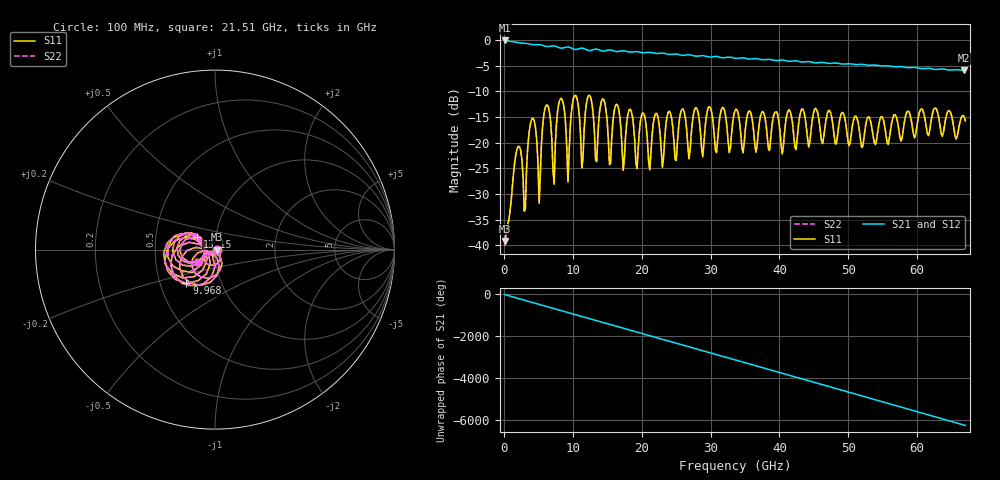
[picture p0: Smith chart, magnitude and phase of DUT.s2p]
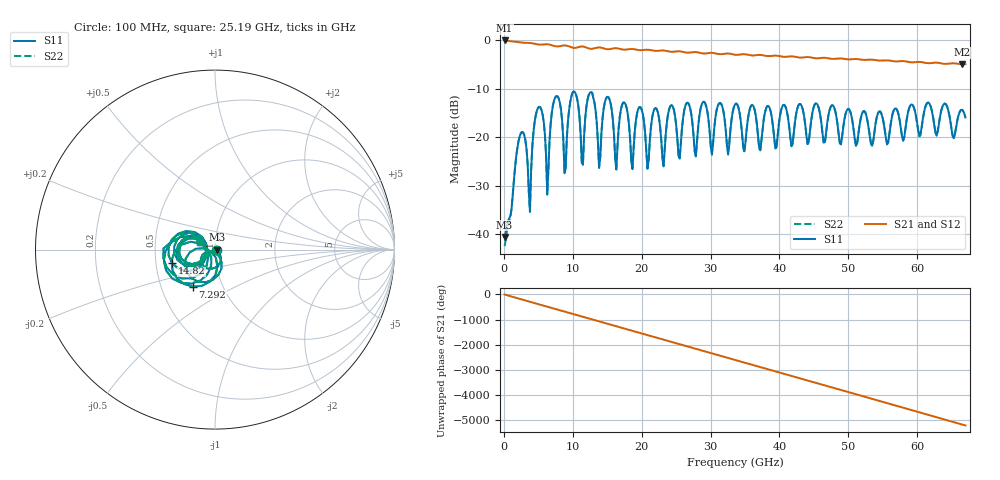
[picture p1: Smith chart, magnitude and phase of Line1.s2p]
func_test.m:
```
clc;clear all;close all;

%---------------Simulation ------------------
Data = 'D:\20220920 new project\ISC_3rd_design\SimulationData_WavePort_50ohm\';
DUT = sparameters(fullfile(Data,'DUT.s2p'));
Line1 = sparameters(fullfile(Data,'Line1.s2p'));
Line2 = sparameters(fullfile(Data,'Line2.s2p'));
Thru = sparameters(fullfile(Data,'Thru.s2p'));
Reflect = sparameters(fullfile(Data,'Reflect.s2p'));
MTRL = sparameters(fullfile(Data,'M_TRL_w_wp_50ohm.s2p'));
De_emb = sparameters(fullfile(Data,'deembeded_w_wp_50ohm.s2p'));

FreqG = DUT.Frequencies;
Freq = FreqG./1e9;

[MagdBDUT_S21,~,MagdBDUT_S11,~] = DUT_structure(DUT);
[MagdBLine1_S21,~,MagdBLine1_S11,~] = DUT_structure(Line1);
[MagdBLine2_S21,~,MagdBLine2_S11,~] = DUT_structure(Line2);
[MagdBThru_S21,~,MagdBThru_S11,~] = DUT_structure(Thru);
[MagdBReflect_S21,~,MagdBReflect_S11,~] = DUT_structure(Reflect);
[~,MagdBReflect_S12,~,MagdBReflect_S22] = DUT_structure(Reflect);
[MagdBMTRL_S21,~,MagdBMTRL_S11,~] = DUT_structure(MTRL);
[MagdBDeemb_S21,~,MagdBDeemb_S11,~] = DUT_structure(De_emb);


figure;
plot(Freq,MagdBDUT_S21,'-*r','MarkerIndices',1:10:length(MagdBDUT_S21),'LineWidth',2);hold on;
plot(Freq,MagdBDUT_S11,'-ok','MarkerIndices',1:10:length(MagdBDUT_S11),'LineWidth',2);hold on;
xlabel('Frequency [GHz]');
ylabel('Magnitude [dB]');
ylim([-50 0]);
yticks(-50:5:0);
xlim([0 67]);
lg1 = legend('S21','S11','Location','best');
title('Magnitude for DUT');
set(gca,'FontName','Times New Roman','FontSize',14);
grid on;
box on;

figure;
plot(Freq,MagdBLine1_S21,'-*r','MarkerIndices',1:10:length(MagdBLine1_S21),'LineWidth',2);hold on;
plot(Freq,MagdBLine1_S11,'-ok','MarkerIndices',1:10:length(MagdBLine1_S11),'LineWidth',2);hold on;
xlabel('Frequency [GHz]');
ylabel('Magnitude [dB]');
ylim([-50 0]);
yticks(-50:5:0);
xlim([0 67]);
lg2 = legend('S21','S11','Location','best');
title('Magnitude for Line1');
set(gca,'FontName','Times New Roman','FontSize',14);
grid on;
box on;

figure;
plot(Freq,MagdBLine2_S21,'-*r','MarkerIndices',1:10:length(MagdBLine2_S21),'LineWidth',2);hold on;
plot(Freq,MagdBLine2_S11,'-ok','MarkerIndices',1:10:length(MagdBLine2_S11),'LineWidth',2);hold on;
xlabel('Frequency [GHz]');
ylabel('Magnitude [dB]');
ylim([-50 0]);
yticks(-50:5:0);
xlim([0 67]);
lg3 = legend('S21','S11','Location','best');
title('Magnitude for Line2');
set(gca,'FontName','Times New Roman','FontSize',14);
grid on;
box on;

figure;
plot(Freq,MagdBThru_S21,'-*r','MarkerIndices',1:10:length(MagdBThru_S21),'LineWidth',2);hold on;
plot(Freq,MagdBThru_S11,'-ok','MarkerIndices',1:10:length(MagdBThru_S11),'LineWidth',2);hold on;
xlabel('Frequency [GHz]');
ylabel('Magnitude [dB]');
ylim([-50 0]);
yticks(-50:5:0);
xlim([0 67]);
lg4 = legend('S21','S11','Location','best');
title('Magnitude for Thru');
set(gca,'FontName','Times New Roman','FontSize',14);
grid on;
box on;

figure;
plot(Freq,MagdBReflect_S21,'-*r','MarkerIndices',1:10:length(MagdBReflect_S21),'LineWidth',2);hold on;
plot(Freq,MagdBReflect_S12,'-.g','MarkerIndices',1:10:length(MagdBReflect_S12),'LineWidth',2);hold on;
plot(Freq,MagdBReflect_S11,'-ok','MarkerSize',4,'MarkerIndices',1:10:length(MagdBReflect_S11),'LineWidth',2);hold on;
plot(Freq,MagdBReflect_S22,'-b','MarkerIndices',1:10:length(MagdBReflect_S22),'LineWidth',2);hold on;
xlabel('Frequency [GHz]');
ylabel('Magnitude [dB]');
% ylim([-100 100]);
% yticks(-100:20:100);
xlim([0 67]);
lg5 = legend('S21','S12','S11','S22','Location','best');
title('Magnitude for Reflect');
set(gca,'FontName','Times New Roman','FontSize',14);
grid on;
box on;

figure;
plot(Freq,MagdBDUT_S21,'-*r','MarkerIndices',1:20:length(MagdBDUT_S21),'LineWidth',2);hold on;
plot(Freq,MagdBLine1_S21,'-hexagram','Markersize',5,'Color','b','MarkerIndices',1:10:length(MagdBLine1_S21),'LineWidth',2);hold on;
plot(Freq,MagdBLine2_S21,'-.k','MarkerIndices',1:10:length(MagdBLine2_S21),'LineWidth',2);hold on;
plot(Freq,MagdBThru_S21,'-m','MarkerIndices',1:10:length(MagdBThru_S21),'LineWidth',2);hold on;
xlabel('Frequency [GHz]');
ylabel('S21 [dB]');
ylim([-14 0]);
yticks(-14:1:0);
xlim([0 67]);
lg6 = legend('DUT','Line1','Line2','Thru','Location','best');
title('Magnitude for all standard');
set(gca,'FontName','Times New Roman','FontSize',14);
grid on;
box on;

figure;
plot(Freq,MagdBDUT_S11,'-*r','MarkerIndices',1:20:length(MagdBDUT_S11),'LineWidth',2);hold on;
plot(Freq,MagdBLine1_S11,'-hexagram','Markersize',5,'Color','b','MarkerIndices',1:10:length(MagdBLine1_S11),'LineWidth',2);hold on;
plot(Freq,MagdBLine2_S11,'-.k','MarkerIndices',1:10:length(MagdBLine2_S11),'LineWidth',2);hold on;
plot(Freq,MagdBThru_S11,'-m','MarkerIndices',1:10:length(MagdBThru_S11),'LineWidth',2);hold on;
xlabel('Frequency [GHz]');
ylabel('S11 [dB]');
% ylim([-14 0]);
% yticks(-14:1:0);
xlim([0 67]);
lg7 = legend('DUT','Line1','Line2','Thru','Location','best');
title('Magnitude for all standard');
set(gca,'FontName','Times New Roman','FontSize',14);
grid on;
box on;
%---------------------------------Calibration-------------------
figure;
plot(Freq,MagdBDUT_S21,'-.k','MarkerIndices',1:15:length(MagdBDUT_S21),'LineWidth',2);hold on;
plot(Freq,MagdBMTRL_S21,'-hexagram','Markersize',5,'Color','b','MarkerIndices',1:10:length(MagdBMTRL_S21),'LineWidth',2);hold on;
plot(Freq,MagdBDeemb_S21,'-m','MarkerIndices',1:10:length(MagdBDeemb_S21),'LineWidth',2);hold on;
xlabel('Frequency [GHz]');
ylabel('S21 [dB]');
ylim([-12 7]);
yticks(-12:1:7);
xlim([0 67]);
lg8 = legend('DUT','M-TRL','De-embedding','Location','best');
title('Calibrated simulation ({\color{red}w/ connector})');
set(gca,'FontName','Times New Roman','FontSize',14);
grid on;
box on;

figure;
plot(Freq,MagdBDUT_S11,'-.k','MarkerIndices',1:15:length(MagdBDUT_S21),'LineWidth',2);hold on;
plot(Freq,MagdBMTRL_S11,'-hexagram','Markersize',5,'Color','b','MarkerIndices',1:10:length(MagdBMTRL_S21),'LineWidth',2);hold on;
plot(Freq,MagdBDeemb_S11,'-m','MarkerIndices',1:10:length(MagdBDeemb_S21),'LineWidth',2);hold on;
xlabel('Frequency [GHz]');
ylabel('S11 [dB]');
ylim([-70 0]);
% yticks(-14:1:0);
xlim([0 67]);
lg9 = legend('DUT','M-TRL','De-embedding','Location','best');
title('Calibrated simulation ({\color{red}w/ connector})');
set(gca,'FontName','Times New Roman','FontSize',14);
grid on;
box on;



%----------------------Function------------------

function [MagdB_S21,MagdB_S12,MagdB_S11,MagdB_S22] = DUT_structure(dut)
    
    S21_RnIm = rfparam(dut,2,1);
    S12_RnIm = rfparam(dut,1,2);
    S11_RnIm = rfparam(dut,1,1);
    S22_RnIm = rfparam(dut,2,2);
    MagdB_S21 = 20*log10(abs(S21_RnIm));
    MagdB_S12 = 20*log10(abs(S12_RnIm));
    MagdB_S11 = 20*log10(abs(S11_RnIm));
    MagdB_S22 = 20*log10(abs(S22_RnIm));

end
```
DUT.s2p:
! Touchstone file exported from HFSS 2021.2.0
!  File:  D:/20220920 new project/ISC_3rd_design/NewISC_3_with_imtiaz_dim_connector.aedt
!  Generated:  10:32:09 AM  Aug 03, 2023
!  Design:  DUT_51
!  Project:  NewISC_3_with_imtiaz_dim_connector
!  Setup:  Setup2
!  Solution:  Sweep
! Variables:
!  $_L_pin_on = 0.01nH
!  $_R_pin_on = 1ohm
!  Con_T = 0.012mm
!  Con_W = 0.11534mm
!  DUT = 30.8024mm
!  Gap = 0.71534mm
!  Gap_connector_vias = 1mm
!  Radius = 0.225mm
!  Space = 0.837mm
!  Sub_L = 9.5988mm
!  Sub_T = 0.05mm
!  Sub_W = 13.8408mm
!  Vias_N = 49
!  Vias_gap = 1mm
!  quater_wave_L = 1.2798mm
# GHz S RI R 50.000000
! Terminal data exported
! Port[1] = 1
! Port[2] = 2
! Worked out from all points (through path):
!   401 points, 100 MHz to 67 GHz, reference 50 ohm
!   highest |S21| = -0.10 dB at 100 MHz (marker M1); lowest = -5.9 dB at 66.83 GHz (marker M2)
!   group delay of S21, straight-line fit = 260 ps
!   lowest |S11| = -39.2 dB at 100 MHz (marker M3), VSWR 1.02, Z = 51.1 - j0.0596 ohm
!   |S11| at or under -10 dB: start of sweep to end of sweep
!   |S22| runs from -40.2 to -10.8 dB; largest |S21 - S12| = 7.7e-14
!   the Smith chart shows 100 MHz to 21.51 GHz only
!   S11 on the Smith chart (normalised r, x): 100 MHz: 1.02, -0.00; 9.968 GHz: 0.68, -0.27; 13.15 GHz: 0.81, +0.12; 21.51 GHz: 0.82, -0.12
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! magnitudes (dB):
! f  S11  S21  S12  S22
! 100 MHz  -39.2  -0.1  -0.1  -40.2
! 1.94 GHz  -21.1  -0.5  -0.5  -21.1
! 2.943 GHz  -33.3  -0.6  -0.6  -33.3
! 4.114 GHz  -15.3  -0.9  -0.9  -15.3
! 5.117 GHz  -31.8  -0.9  -0.9  -31.6
! 9.968 GHz  -12.2  -1.7  -1.7  -12.2
! 13.15 GHz  -18.1  -1.8  -1.8  -18.0
! 21.51 GHz  -18.6  -2.5  -2.5  -18.6
! 33.72 GHz  -13.5  -3.6  -3.6  -13.5
! 66.83 GHz  -15.0  -5.9  -5.9  -15.0
! 67 GHz  -15.8  -5.9  -5.9  -15.8
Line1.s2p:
! Touchstone file exported from HFSS 2021.2.0
!  File:  D:/20220920 new project/ISC_3rd_design/NewISC_3_with_imtiaz_dim_connector.aedt
!  Generated:  1:07:22 AM  Aug 03, 2023
!  Design:  Line1_1
!  Project:  NewISC_3_with_imtiaz_dim_connector
!  Setup:  Setup2
!  Solution:  Sweep
! Variables:
!  $_L_pin_on = 0.01nH
!  $_R_pin_on = 1ohm
!  Con_T = 0.012mm
!  Con_W = 0.11534mm
!  DUT = 26.2374mm
!  Gap = 0.71534mm
!  Gap_connector_vias = 1mm
!  L1 = 22.21mm
!  Radius = 0.225mm
!  Space = 0.837mm
!  Sub_L = 9.5988mm
!  Sub_T = 0.05mm
!  Sub_W = 13.8408mm
!  Vias_N = 40
!  Vias_gap = 1.01045128205128mm
!  quater_wave_L = 1.2798mm
# GHz S RI R 50.000000
! Terminal data exported
! Port[1] = 1
! Port[2] = 2
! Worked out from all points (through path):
!   401 points, 100 MHz to 67 GHz, reference 50 ohm
!   highest |S21| = -0.09 dB at 100 MHz (marker M1); lowest = -5.0 dB at 66.5 GHz (marker M2)
!   group delay of S21, straight-line fit = 216 ps
!   lowest |S11| = -40.5 dB at 100 MHz (marker M3), VSWR 1.02, Z = 50.9 - j0.103 ohm
!   |S11| at or under -10 dB: start of sweep to end of sweep
!   |S22| runs from -42.4 to -10.6 dB; largest |S21 - S12| = 2.5e-14
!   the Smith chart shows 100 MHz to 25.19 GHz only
!   S11 on the Smith chart (normalised r, x): 100 MHz: 1.02, -0.00; 7.292 GHz: 0.72, -0.32; 14.82 GHz: 0.61, -0.10; 25.19 GHz: 0.84, +0.08
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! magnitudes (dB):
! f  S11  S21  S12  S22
! 100 MHz  -40.5  -0.1  -0.1  -42.4
! 2.274 GHz  -19.9  -0.5  -0.5  -19.9
! 5.285 GHz  -13.9  -0.9  -0.9  -13.8
! 6.288 GHz  -31.8  -0.9  -0.9  -31.5
! 7.292 GHz  -12.4  -1.2  -1.2  -12.4
! 8.797 GHz  -27.4  -1.1  -1.1  -27.1
! 14.82 GHz  -12.0  -1.9  -1.9  -12.0
! 25.19 GHz  -20.5  -2.3  -2.3  -20.4
! 33.72 GHz  -13.1  -3.0  -3.0  -13.1
! 66.5 GHz  -14.4  -5.0  -5.0  -14.3
! 67 GHz  -15.9  -5.0  -5.0  -15.9
